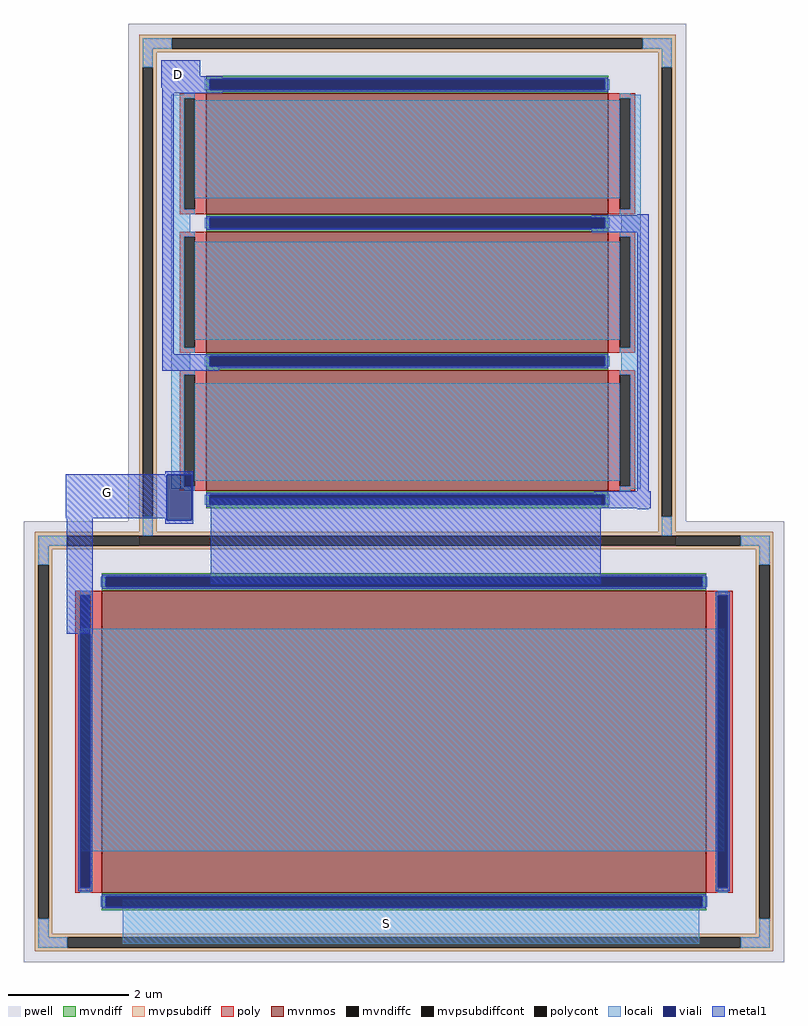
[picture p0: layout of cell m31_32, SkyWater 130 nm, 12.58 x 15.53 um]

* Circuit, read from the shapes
.subckt m31_32 D G S
XM1 n1 G S S sky130_fd_pr__nfet_g5v0d10v5 w=10 l=5
XM2 D G n1 S sky130_fd_pr__nfet_g5v0d10v5 w=6.66 l=2 m=3
.ends

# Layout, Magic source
magic
tech sky130A
magscale 1 2
<< locali >>
rect 21420 12098 23554 12834
rect 21562 11792 23470 11938
<< viali >>
rect 21708 13194 21790 13344
<< metal1 >>
rect 21690 14626 21818 14716
rect 21702 13346 21796 13356
rect 21374 13344 21796 13346
rect 21374 13200 21708 13344
rect 21376 12818 21462 13200
rect 21702 13194 21708 13200
rect 21790 13194 21796 13344
rect 21702 13182 21796 13194
rect 21854 12984 23144 13266
use sky130_fd_pr__nfet_g5v0d10v5_EQJBSH  sky130_fd_pr__nfet_g5v0d10v5_EQJBSH_0
transform 0 1 22504 -1 0 13949
box -888 -924 888 924
use sky130_fd_pr__nfet_g5v0d10v5_XPP34T  sky130_fd_pr__nfet_g5v0d10v5_XPP34T_0
transform 0 1 22493 -1 0 12461
box -730 -1258 730 1258
<< labels >>
flabel metal1 21510 13286 21510 13286 0 FreeSans 800 0 0 0 G
flabel locali 22434 11860 22434 11860 0 FreeSans 800 0 0 0 S
flabel metal1 21746 14668 21746 14668 0 FreeSans 800 0 0 0 D
<< end >>

# cell sky130_fd_pr__nfet_g5v0d10v5_EQJBSH: kit device sky130_fd_pr__nfet_g5v0d10v5, w 6.66 l 2 m 1 nf 3 diffcov 100 polycov 100 guard 1 glc 1 grc 1 gtc 1 gbc 1 tbcov 100 rlcov 100 topc 1 botc 1 poverlap 0 doverlap 1 lmin 0.50 wmin 0.42 class mosfet compatible {sky130_fd_pr__nfet_01v8 sky130_fd_pr__nfet_01v8_lvt sky130_fd_bs_flash__special_sonosfet_star sky130_fd_pr__nfet_g5v0d10v5 sky130_fd_pr__nfet_05v0_nvt sky130_fd_pr__nfet_03v3_nvt} full_metal 1 conn_gates 0 viasrc 100 viadrn 100 viagate 100 viagb 0 viagr 0 viagl 0 viagt 0 doports 1

# cell sky130_fd_pr__nfet_g5v0d10v5_XPP34T: kit device sky130_fd_pr__nfet_g5v0d10v5, w 10 l 5 m 1 nf 1 diffcov 100 polycov 100 guard 1 glc 1 grc 1 gtc 1 gbc 1 tbcov 100 rlcov 100 topc 1 botc 1 poverlap 0 doverlap 1 lmin 0.50 wmin 0.42 class mosfet compatible {sky130_fd_pr__nfet_01v8 sky130_fd_pr__nfet_01v8_lvt sky130_fd_bs_flash__special_sonosfet_star sky130_fd_pr__nfet_g5v0d10v5 sky130_fd_pr__nfet_05v0_nvt sky130_fd_pr__nfet_03v3_nvt} full_metal 1 conn_gates 0 viasrc 100 viadrn 100 viagate 100 viagb 0 viagr 0 viagl 0 viagt 0 doports 1
